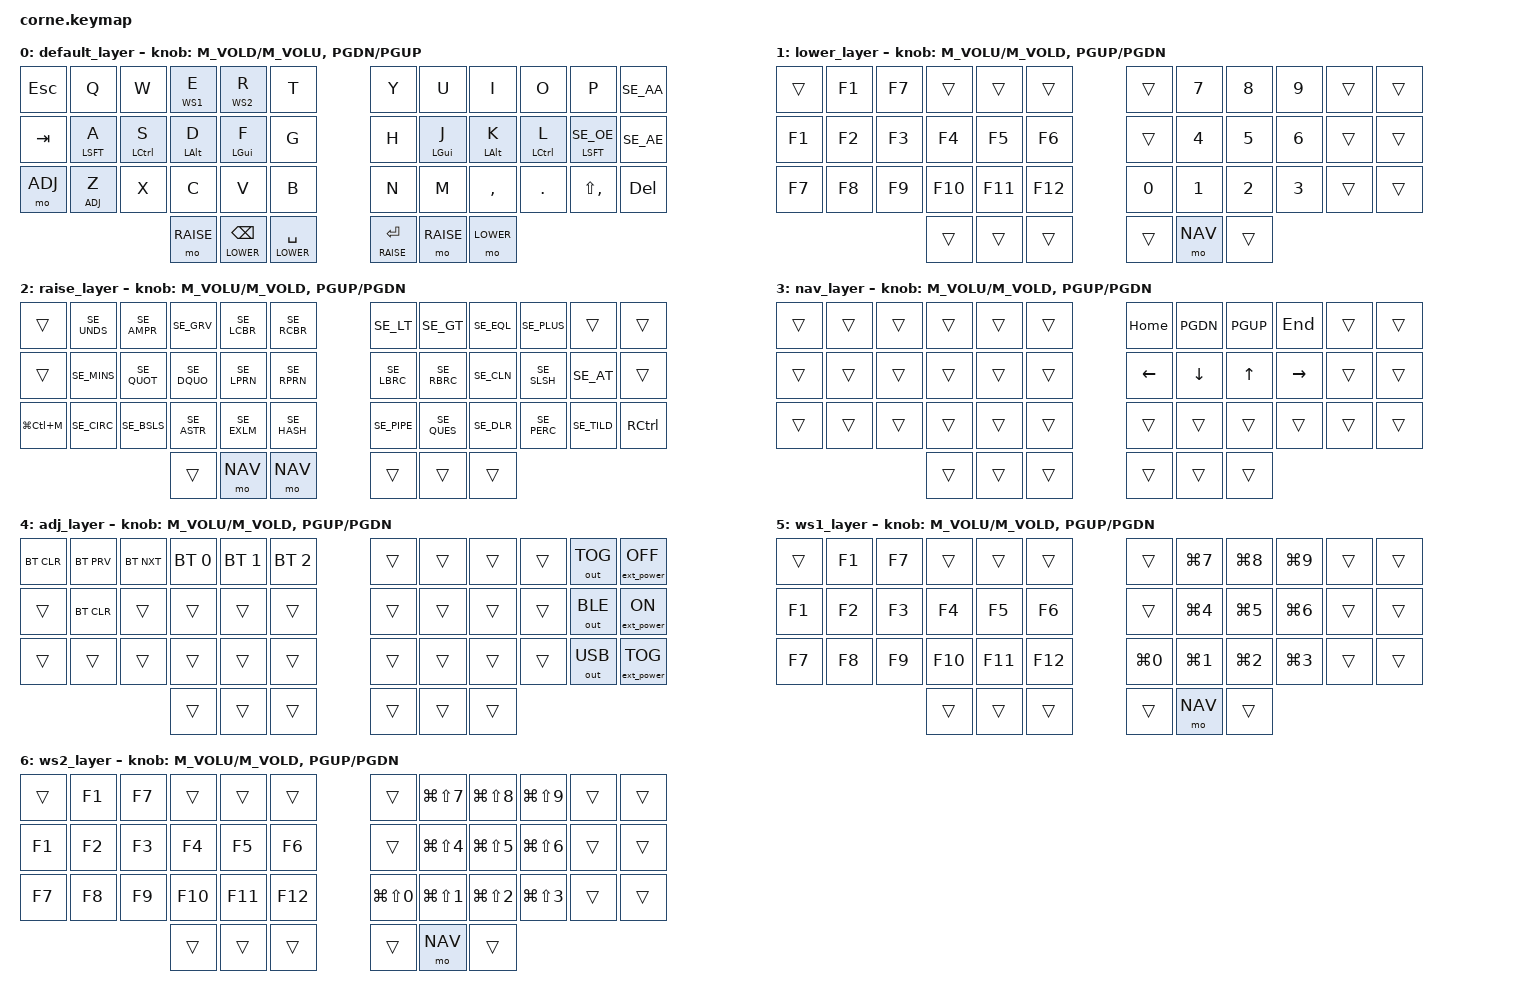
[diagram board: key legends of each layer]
/*
 * Copyright (c) 2020 The ZMK Contributors
 *
 * SPDX-License-Identifier: MIT
 */

#include <behaviors.dtsi>
#include <dt-bindings/zmk/bt.h>
#include <dt-bindings/zmk/keys.h>
#include <dt-bindings/zmk/outputs.h>
#include <dt-bindings/zmk/ext_power.h>
#include "keys-swedish.h"

#define DEFAULT 0
#define LOWER   1
#define RAISE   2
#define NAV     3
#define ADJ     4
#define WS1     5
#define WS2     6


#define FAST_COMBO_TIMEOUT 50
#define SLOW_COMBO_TIMEOUT 60

        &lt {
            tapping-term-ms = <200>;
            quick-tap-ms = <150>;
            flavor = "tap-preferred";
        };
        &mt {
            tapping-term-ms = <200>;
            quick-tap-ms = <150>;
            flavor = "tap-preferred";
        };
        &caps_word {
            continue-list = <SE_MINS SE_UNDS SE_AMPR SE_AE SE_OE SE_AA>;
        };

/ {
    combos {
        compatible = "zmk,combos";
        combo_caps {
            timeout-ms = <SLOW_COMBO_TIMEOUT>;
            key-positions = <16 19>;
            bindings = <&caps_word>;
        };
        combo_esc {
            timeout-ms = <FAST_COMBO_TIMEOUT>;
            key-positions = <19 20>;
            bindings = <&kp ESC>;
        };
	combo_esc2 {
            timeout-ms = <FAST_COMBO_TIMEOUT>;
            key-positions = <1 2>;
            bindings = <&kp ESC>;
        };
        combo_tab {
            timeout-ms = <FAST_COMBO_TIMEOUT>;
            key-positions = <15 16>;
            bindings = <&kp TAB>;
        };
        combo_aa {
            timeout-ms = <FAST_COMBO_TIMEOUT>;
            key-positions = <9 10>;
            bindings = <&kp SE_AA>;
        };
        combo_ae {
            timeout-ms = <FAST_COMBO_TIMEOUT>;
            key-positions = <21 22>;
            bindings = <&kp SE_AE>;
        };
	combo_del {
            timeout-ms = <FAST_COMBO_TIMEOUT>;
            key-positions = <34 33>;
            bindings = <&kp DELETE>;
        };
    };
};

/ {
    behaviors {
        hm: homerow_mods {
            compatible = "zmk,behavior-hold-tap";
            label = "homerow mods";
            #binding-cells = <2>;
            tapping-term-ms = <300>;
            quick-tap-ms = <150>;
            flavor = "tap-preferred";
            bindings = <&kp>, <&kp>;
        };
        hmi: homerow_mods_index {
            compatible = "zmk,behavior-hold-tap";
            label = "homerow mods index";
            #binding-cells = <2>;
            tapping-term-ms = <200>;
            quick-tap-ms = <150>;
            flavor = "tap-preferred";
            bindings = <&kp>, <&kp>;
        };
        hmp: homerow_mods_pinky {
            compatible = "zmk,behavior-hold-tap";
            label = "homerow mods pinky";
            #binding-cells = <2>;
            quick-tap-ms = <120>;
            tapping-term-ms = <150>;
            flavor = "tap-preferred";
            bindings = <&kp>, <&kp>;
        };
    };
};


/ {


	keymap {
		compatible = "zmk,keymap";

		default_layer {
// ---------------------------------------------------------------------------------------------------------------------------------
// |  ESC  |  Q  |  W  |  E   |  R   |  T   |                                          |  Y   |  U    |  I    |  O   |   P   |   \  |
// |  TAB  |  A  |  S  |  D   |  F   |  G   |                                          |  H   |  J    |  K    |  L   |   ;   |   '  |
// | SHIFT |  Z  |  X  |  C   |  V   |  B   | L SHIFT | L SHIFT |  | L SHIFT | L SHIFT |  N   |  M    |  ,    |  .   |   /   | CTRL |
//                     | GUI  | DEL  | RET  |  SPACE  |   ESC   |  |   RET   |  SPACE  | TAB  | BSPC  | R-ALT |
			bindings = <
	&kp ESC &kp Q       &kp W       &lt WS1 E  &lt WS2 R   &kp T               &kp Y         &kp U        &kp I      &kp O       &kp P           &kp SE_AA
	&kp TAB &hmi LSFT A &hmi LCTL S &hm LALT D &hmi LGUI F &kp G               &kp H         &hmi LGUI J  &hm LALT K &hm LCTL L  &hmp LSFT SE_OE &kp SE_AE
	&mo ADJ &lt ADJ Z   &kp X       &kp C      &kp V       &kp B               &kp N         &kp M        &kp COMMA  &kp DOT     &kp LS(CMMA)    &kp DEL
	                                &mo RAISE  &lt LOWER BKSP    &lt LOWER SPC       &lt RAISE RET &mo RAISE    &mo LOWER
			>;

			sensor-bindings = <&inc_dec_cp M_VOLD M_VOLU &inc_dec_kp PGDN PGUP>;
		};


		lower_layer {
			bindings = <
	&trans     &kp F1     &kp F7     &trans       &trans       &trans                &trans    &kp N7    &kp N8      &kp N9     &trans &trans
	&kp F1     &kp F2     &kp F3     &kp F4       &kp F5       &kp F6                &trans    &kp N4    &kp N5      &kp N6     &trans &trans
	&kp F7     &kp F8     &kp F9     &kp F10      &kp F11      &kp F12               &kp N0    &kp N1    &kp N2      &kp N3     &trans &trans
	                                 &trans       &trans       &trans                &trans    &mo NAV   &trans
			>;

			sensor-bindings = <&inc_dec_cp M_VOLU M_VOLD &inc_dec_kp PGUP PGDN>;
		};


		raise_layer {
			bindings = <
	&trans        &kp SE_UNDS &kp SE_AMPR &kp SE_GRV  &kp SE_LCBR &kp SE_RCBR           &kp SE_LT   &kp SE_GT   &kp SE_EQL &kp SE_PLUS &trans      &trans
	&trans        &kp SE_MINS &kp SE_QUOT &kp SE_DQUO &kp SE_LPRN &kp SE_RPRN           &kp SE_LBRC &kp SE_RBRC &kp SE_CLN &kp SE_SLSH &kp SE_AT   &trans
	&kp LG(LC(M)) &kp SE_CIRC &kp SE_BSLS &kp SE_ASTR &kp SE_EXLM &kp SE_HASH           &kp SE_PIPE &kp SE_QUES &kp SE_DLR &kp SE_PERC &kp SE_TILD &kp RCTL
	                                      &trans      &mo NAV     &mo NAV               &trans      &trans      &trans
			>;

			sensor-bindings = <&inc_dec_cp M_VOLU M_VOLD &inc_dec_kp PGUP PGDN>;
		};


		nav_layer {
			bindings = <
    &trans     &trans     &trans     &trans       &trans       &trans                    &kp HOME &kp PGDN &kp PGUP &kp END   &trans &trans
    &trans     &trans     &trans     &trans       &trans       &trans                    &kp LEFT &kp DOWN &kp UP   &kp RIGHT &trans &trans
    &trans     &trans     &trans     &trans       &trans       &trans                    &trans   &trans   &trans   &trans    &trans &trans
	                                 &trans       &trans       &trans                    &trans   &trans   &trans
			>;

			sensor-bindings = <&inc_dec_cp M_VOLU M_VOLD &inc_dec_kp PGUP PGDN>;
		};


		adj_layer {
			bindings = <
                &bt BT_CLR &bt BT_PRV &bt BT_NXT &bt BT_SEL 0 &bt BT_SEL 1 &bt BT_SEL 2                   &trans &trans &trans &trans  &out OUT_TOG &ext_power EP_OFF
                &trans     &bt BT_CLR &trans     &trans       &trans       &trans                         &trans &trans &trans &trans  &out OUT_BLE &ext_power EP_ON
                &trans     &trans     &trans     &trans       &trans       &trans                         &trans &trans &trans &trans  &out OUT_USB &ext_power EP_TOG
	                                             &trans       &trans       &trans                         &trans &trans &trans
			>;

			sensor-bindings = <&inc_dec_cp M_VOLU M_VOLD &inc_dec_kp PGUP PGDN>;
		};

		ws1_layer {
			bindings = <
	&trans     &kp F1     &kp F7     &trans       &trans       &trans                &trans &kp LG(N7)      &kp LG(N8)    &kp LG(N9)   &trans &trans
	&kp F1     &kp F2     &kp F3     &kp F4       &kp F5       &kp F6                &trans &kp LG(N4)      &kp LG(N5)    &kp LG(N6)   &trans &trans
	&kp F7     &kp F8     &kp F9     &kp F10      &kp F11      &kp F12               &kp LG(N0) &kp LG(N1)  &kp LG(N2)    &kp LG(N3)   &trans &trans
	                                 &trans       &trans       &trans                &trans &mo NAV &trans
			>;

			sensor-bindings = <&inc_dec_cp M_VOLU M_VOLD &inc_dec_kp PGUP PGDN>;
		};


		ws2_layer {
			bindings = <
	&trans     &kp F1     &kp F7     &trans       &trans       &trans                &trans &kp LG(LS(N7))  &kp LG(LS(N8))    &kp LG(LS(N9))   &trans &trans
	&kp F1     &kp F2     &kp F3     &kp F4       &kp F5       &kp F6                &trans &kp LG(LS(N4))  &kp LG(LS(N5))    &kp LG(LS(N6))   &trans &trans
	&kp F7     &kp F8     &kp F9     &kp F10      &kp F11      &kp F12               &kp LG(LS(N0)) &kp LG(LS(N1))  &kp LG(LS(N2))    &kp LG(LS(N3))   &trans &trans
	                                 &trans       &trans       &trans                &trans &mo NAV &trans
			>;

			sensor-bindings = <&inc_dec_cp M_VOLU M_VOLD &inc_dec_kp PGUP PGDN>;
		};




	};
};
